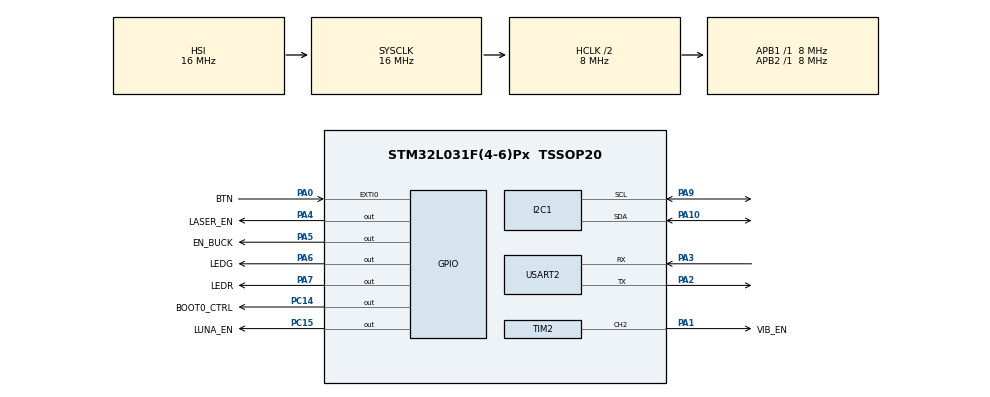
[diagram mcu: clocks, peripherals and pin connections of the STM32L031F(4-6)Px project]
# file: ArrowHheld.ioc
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I2C1.OwnAddress=0x0a
I2C1.Timing=0x2000090E
Mcu.Family=STM32L0
Mcu.Name=STM32L031F(4-6)Px
Mcu.Package=TSSOP20
NVIC.EXTI0_1_IRQn=true\:1\:0\:true\:false\:true\:true\:true
NVIC.I2C1_IRQn=true\:0\:0\:false\:false\:true\:true\:true
NVIC.TIM21_IRQn=true\:2\:0\:true\:false\:true\:true\:true
NVIC.USART2_IRQn=true\:3\:0\:true\:false\:true\:true\:true
PA0-CK_IN.GPIO_Label=BTN
PA0-CK_IN.GPIO_ModeDefaultEXTI=GPIO_MODE_IT_FALLING
PA0-CK_IN.GPIO_PuPd=GPIO_PULLUP
PA0-CK_IN.Signal=GPXTI0
PA1.GPIO_Label=VIB_EN
PA1.Signal=S_TIM2_CH2
PA10.Mode=I2C
PA10.Signal=I2C1_SDA
PA13.Mode=Serial_Wire
PA13.Signal=SYS_SWDIO
PA14.Mode=Serial_Wire
PA14.Signal=SYS_SWCLK
PA2.Mode=Asynchronous
PA2.Signal=USART2_TX
PA3.Mode=Asynchronous
PA3.Signal=USART2_RX
PA4.GPIO_Label=LASER_EN
PA4.GPIO_ModeDefaultOutputPP=GPIO_MODE_OUTPUT_PP
PA4.GPIO_PuPd=GPIO_NOPULL
PA4.Signal=GPIO_Output
PA5.GPIO_Label=EN_BUCK
PA5.Signal=GPIO_Output
PA6.GPIO_Label=LEDG
PA6.Signal=GPIO_Output
PA7.GPIO_Label=LEDR
PA7.Signal=GPIO_Output
PA9.Mode=I2C
PA9.Signal=I2C1_SCL
PC14-OSC32_IN.GPIO_Label=BOOT0_CTRL
PC14-OSC32_IN.Signal=GPIO_Output
PC15-OSC32_OUT.GPIO_Label=LUNA_EN
PC15-OSC32_OUT.Signal=GPIO_Output
ProjectManager.HeapSize=0x200
ProjectManager.StackSize=0x400
ProjectManager.TargetToolchain=MDK-ARM V5.32
RCC.AHBCLKDivider=RCC_SYSCLK_DIV2
RCC.AHBFreq_Value=8000000
RCC.APB1Freq_Value=8000000
RCC.APB1TimFreq_Value=8000000
RCC.APB2Freq_Value=8000000
RCC.APB2TimFreq_Value=8000000
RCC.HCLKFreq_Value=8000000
RCC.HSE_VALUE=8000000
RCC.HSI16_VALUE=16000000
RCC.HSI_VALUE=16000000
RCC.LSE_VALUE=32768
RCC.MSI_VALUE=2097000
RCC.SYSCLKFreq_VALUE=16000000
RCC.SYSCLKSource=RCC_SYSCLKSOURCE_HSI
RCC.VCOOutputFreq_Value=48000000
SH.S_TIM2_CH2.0=TIM2_CH2,PWM Generation2 CH2
TIM2.Channel-PWM\ Generation2\ CH2=TIM_CHANNEL_2
TIM2.ClockDivision=TIM_CLOCKDIVISION_DIV4
TIM2.Period=500
TIM2.Prescaler=10
TIM2.Pulse-PWM\ Generation2\ CH2=400
TIM21.Period=60000
TIM21.Prescaler=600
USART2.VirtualMode-Asynchronous=VM_ASYNC
VP_TIM21_VS_ClockSourceINT.Mode=Internal
VP_TIM2_VS_ClockSourceINT.Mode=Internal
board=custom

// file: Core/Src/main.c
/* USER CODE BEGIN Header */
/**
  ******************************************************************************
  * @file           : main.c
  * @brief          : Main program body
  ******************************************************************************
  * @attention
  *
  * Copyright (c) 2022 STMicroelectronics.
  * All rights reserved.
  *
  * This software is licensed under terms that can be found in the LICENSE file
  * in the root directory of this software component.
  * If no LICENSE file comes with this software, it is provided AS-IS.
  *
  ******************************************************************************
  */
/* USER CODE END Header */
#include "main.h"

/* USER CODE BEGIN Includes */
#include <stdio.h>
/* USER CODE END Includes */

I2C_HandleTypeDef hi2c1;

TIM_HandleTypeDef htim2;
TIM_HandleTypeDef htim21;

UART_HandleTypeDef huart2;

/* USER CODE BEGIN PV */
uint8_t LunaData[9];
uint16_t Distance = 0;
enum{
	NORMAL,
	LIDAR_ON,
	LIDAR_SCAN,
	LIDAR_END

} Operating_mode;
/* USER CODE END PV */

void SystemClock_Config(void);
static void MX_GPIO_Init(void);
static void MX_I2C1_Init(void);
static void MX_USART2_UART_Init(void);
static void MX_TIM2_Init(void);
static void MX_TIM21_Init(void);
/* USER CODE BEGIN PFP */

void delay_ms(uint16_t ms);
/* USER CODE END PFP */

/* USER CODE BEGIN 0 */
void disable_vibrator_pin()
{
	GPIO_InitTypeDef GPIO_InitStruct = {0};
  /*Configure to be output mode and set to Disable*/
  GPIO_InitStruct.Pin = VIB_EN_Pin;
  GPIO_InitStruct.Mode = GPIO_MODE_OUTPUT_PP;
  GPIO_InitStruct.Pull = GPIO_NOPULL;
  GPIO_InitStruct.Speed = GPIO_SPEED_FREQ_LOW;
  HAL_GPIO_Init(VIB_EN_GPIO_Port, &GPIO_InitStruct);

	HAL_GPIO_WritePin(VIB_EN_GPIO_Port,VIB_EN_Pin,GPIO_PIN_RESET);
}

void enable_vibrator_pin()
{
	GPIO_InitTypeDef GPIO_InitStruct = {0};
  __HAL_RCC_GPIOA_CLK_ENABLE();
  /*Configure to be TIM2 PWM mode*/
  GPIO_InitStruct.Pin = VIB_EN_Pin;
  GPIO_InitStruct.Mode = GPIO_MODE_AF_PP;
  GPIO_InitStruct.Pull = GPIO_PULLDOWN;
  GPIO_InitStruct.Speed = GPIO_SPEED_FREQ_LOW;
  GPIO_InitStruct.Alternate = GPIO_AF2_TIM2;
  HAL_GPIO_Init(VIB_EN_GPIO_Port, &GPIO_InitStruct);
	HAL_GPIO_WritePin(VIB_EN_GPIO_Port,VIB_EN_Pin,GPIO_PIN_RESET);
}
/* USER CODE END 0 */

int main(void)
{

  /* MCU Configuration--------------------------------------------------------*/

  /* Reset of all peripherals, Initializes the Flash interface and the Systick. */
  HAL_Init();

  /* Configure the system clock */
  SystemClock_Config();

  /* Initialize all configured peripherals */
  MX_GPIO_Init();
  MX_I2C1_Init();
  MX_USART2_UART_Init();
  MX_TIM2_Init();
  MX_TIM21_Init();
  /* USER CODE BEGIN 2 */
	BOOT0_OFF();
	LEDR_OFF();
	LEDG_OFF();
	BUCK_OFF();
	disable_vibrator_pin();
	//HAL_GPIO_WritePin(VIB_EN_GPIO_Port,VIB_EN_Pin,GPIO_PIN_RESET);
	HAL_Delay(100);
	LEDR_ON();
	LEDG_ON();
	BUCK_ON();
	HAL_Delay(200);
	enable_vibrator_pin();
	VIBRATOR_ON();
	HAL_Delay(100);
	disable_vibrator_pin();
	VIBRATOR_OFF();
	LASER_ON();
	HAL_Delay(100);
	BUCK_OFF();
	LEDR_OFF();
	LASER_OFF();

	//HAL_TIM_Base_Start_DMA(&htim2,(uint32_t*)LunaData,9);
	//HAL_UART_Receive_IT(&huart2,LunaData,9);
  /* USER CODE END 2 */

  /* Infinite loop */
  /* USER CODE BEGIN WHILE */
	Operating_mode = NORMAL;
  while (1)
  {
    /* USER CODE END WHILE */

    /* USER CODE BEGIN 3 */

		if(Operating_mode == NORMAL)
		{
			LEDG_ON();
			HAL_Delay(500);

			LEDG_OFF();
			HAL_Delay(500);
		}
		else if(Operating_mode == LIDAR_ON)
		{
			HAL_TIM_Base_Start_IT(&htim21);
			LEDR_ON();
			BUCK_ON();
			delay_ms(50);
			//HAL_UART_Receive_DMA(&huart2,(uint8_t *)LunaData,9);
			Operating_mode = LIDAR_SCAN;
			HAL_UART_Receive_IT(&huart2,(uint8_t *)LunaData,9);
			VIBRATOR_ON();
			enable_vibrator_pin();
		}
		else if(Operating_mode == LIDAR_SCAN)
		{
			LASER_ON();

		}
		else if(Operating_mode == LIDAR_END)
		{
			disable_vibrator_pin();
			VIBRATOR_OFF();
			//HAL_UART_DMAStop(&huart2);
			Operating_mode = 0;
			HAL_TIM_Base_Stop_IT(&htim21);
			delay_ms(50);
			LEDR_OFF();
			BUCK_OFF();
			LASER_OFF();
			//HAL_GPIO_TogglePin(LEDR_GPIO_Port,LEDR_Pin);

			Operating_mode = NORMAL;
		}
  }
  /* USER CODE END 3 */
}

void SystemClock_Config(void)
{
  RCC_OscInitTypeDef RCC_OscInitStruct = {0};
  RCC_ClkInitTypeDef RCC_ClkInitStruct = {0};
  RCC_PeriphCLKInitTypeDef PeriphClkInit = {0};

  /** Configure the main internal regulator output voltage
  */
  __HAL_PWR_VOLTAGESCALING_CONFIG(PWR_REGULATOR_VOLTAGE_SCALE1);
  /** Initializes the RCC Oscillators according to the specified parameters
  * in the RCC_OscInitTypeDef structure.
  */
  RCC_OscInitStruct.OscillatorType = RCC_OSCILLATORTYPE_HSI;
  RCC_OscInitStruct.HSIState = RCC_HSI_ON;
  RCC_OscInitStruct.HSICalibrationValue = RCC_HSICALIBRATION_DEFAULT;
  RCC_OscInitStruct.PLL.PLLState = RCC_PLL_NONE;
  if (HAL_RCC_OscConfig(&RCC_OscInitStruct) != HAL_OK)
  {
    Error_Handler();
  }
  /** Initializes the CPU, AHB and APB buses clocks
  */
  RCC_ClkInitStruct.ClockType = RCC_CLOCKTYPE_HCLK|RCC_CLOCKTYPE_SYSCLK
                              |RCC_CLOCKTYPE_PCLK1|RCC_CLOCKTYPE_PCLK2;
  RCC_ClkInitStruct.SYSCLKSource = RCC_SYSCLKSOURCE_HSI;
  RCC_ClkInitStruct.AHBCLKDivider = RCC_SYSCLK_DIV2;
  RCC_ClkInitStruct.APB1CLKDivider = RCC_HCLK_DIV1;
  RCC_ClkInitStruct.APB2CLKDivider = RCC_HCLK_DIV1;

  if (HAL_RCC_ClockConfig(&RCC_ClkInitStruct, FLASH_LATENCY_0) != HAL_OK)
  {
    Error_Handler();
  }
  PeriphClkInit.PeriphClockSelection = RCC_PERIPHCLK_USART2|RCC_PERIPHCLK_I2C1;
  PeriphClkInit.Usart2ClockSelection = RCC_USART2CLKSOURCE_PCLK1;
  PeriphClkInit.I2c1ClockSelection = RCC_I2C1CLKSOURCE_PCLK1;
  if (HAL_RCCEx_PeriphCLKConfig(&PeriphClkInit) != HAL_OK)
  {
    Error_Handler();
  }
}

static void MX_I2C1_Init(void)
{

  hi2c1.Instance = I2C1;
  hi2c1.Init.Timing = 0x2000090E;
  hi2c1.Init.OwnAddress1 = 20;
  hi2c1.Init.AddressingMode = I2C_ADDRESSINGMODE_7BIT;
  hi2c1.Init.DualAddressMode = I2C_DUALADDRESS_DISABLE;
  hi2c1.Init.OwnAddress2 = 0;
  hi2c1.Init.OwnAddress2Masks = I2C_OA2_NOMASK;
  hi2c1.Init.GeneralCallMode = I2C_GENERALCALL_DISABLE;
  hi2c1.Init.NoStretchMode = I2C_NOSTRETCH_DISABLE;
  if (HAL_I2C_Init(&hi2c1) != HAL_OK)
  {
    Error_Handler();
  }
  /** Configure Analogue filter
  */
  if (HAL_I2CEx_ConfigAnalogFilter(&hi2c1, I2C_ANALOGFILTER_ENABLE) != HAL_OK)
  {
    Error_Handler();
  }
  /** Configure Digital filter
  */
  if (HAL_I2CEx_ConfigDigitalFilter(&hi2c1, 0) != HAL_OK)
  {
    Error_Handler();
  }

}

static void MX_TIM2_Init(void)
{

  TIM_ClockConfigTypeDef sClockSourceConfig = {0};
  TIM_MasterConfigTypeDef sMasterConfig = {0};
  TIM_OC_InitTypeDef sConfigOC = {0};

  htim2.Instance = TIM2;
  htim2.Init.Prescaler = 1;
  htim2.Init.CounterMode = TIM_COUNTERMODE_UP;
  htim2.Init.Period = 100;
  htim2.Init.ClockDivision = TIM_CLOCKDIVISION_DIV4;
  htim2.Init.AutoReloadPreload = TIM_AUTORELOAD_PRELOAD_DISABLE;
  if (HAL_TIM_Base_Init(&htim2) != HAL_OK)
  {
    Error_Handler();
  }
  sClockSourceConfig.ClockSource = TIM_CLOCKSOURCE_INTERNAL;
  if (HAL_TIM_ConfigClockSource(&htim2, &sClockSourceConfig) != HAL_OK)
  {
    Error_Handler();
  }
  if (HAL_TIM_PWM_Init(&htim2) != HAL_OK)
  {
    Error_Handler();
  }
  sMasterConfig.MasterOutputTrigger = TIM_TRGO_RESET;
  sMasterConfig.MasterSlaveMode = TIM_MASTERSLAVEMODE_DISABLE;
  if (HAL_TIMEx_MasterConfigSynchronization(&htim2, &sMasterConfig) != HAL_OK)
  {
    Error_Handler();
  }
  sConfigOC.OCMode = TIM_OCMODE_PWM2;
  sConfigOC.Pulse = 20;
  sConfigOC.OCPolarity = TIM_OCPOLARITY_LOW;
  sConfigOC.OCFastMode = TIM_OCFAST_DISABLE;
  if (HAL_TIM_PWM_ConfigChannel(&htim2, &sConfigOC, TIM_CHANNEL_2) != HAL_OK)
  {
    Error_Handler();
  }
  HAL_TIM_MspPostInit(&htim2);

}

static void MX_TIM21_Init(void)
{

  TIM_ClockConfigTypeDef sClockSourceConfig = {0};
  TIM_MasterConfigTypeDef sMasterConfig = {0};

  htim21.Instance = TIM21;
  htim21.Init.Prescaler = 600;
  htim21.Init.CounterMode = TIM_COUNTERMODE_UP;
  htim21.Init.Period = 20000;
  htim21.Init.ClockDivision = TIM_CLOCKDIVISION_DIV1;
  htim21.Init.AutoReloadPreload = TIM_AUTORELOAD_PRELOAD_DISABLE;
  if (HAL_TIM_Base_Init(&htim21) != HAL_OK)
  {
    Error_Handler();
  }
  sClockSourceConfig.ClockSource = TIM_CLOCKSOURCE_INTERNAL;
  if (HAL_TIM_ConfigClockSource(&htim21, &sClockSourceConfig) != HAL_OK)
  {
    Error_Handler();
  }
  sMasterConfig.MasterOutputTrigger = TIM_TRGO_RESET;
  sMasterConfig.MasterSlaveMode = TIM_MASTERSLAVEMODE_DISABLE;
  if (HAL_TIMEx_MasterConfigSynchronization(&htim21, &sMasterConfig) != HAL_OK)
  {
    Error_Handler();
  }

}

static void MX_USART2_UART_Init(void)
{

  huart2.Instance = USART2;
  huart2.Init.BaudRate = 115200;
  huart2.Init.WordLength = UART_WORDLENGTH_8B;
  huart2.Init.StopBits = UART_STOPBITS_1;
  huart2.Init.Parity = UART_PARITY_NONE;
  huart2.Init.Mode = UART_MODE_TX_RX;
  huart2.Init.HwFlowCtl = UART_HWCONTROL_NONE;
  huart2.Init.OverSampling = UART_OVERSAMPLING_16;
  huart2.Init.OneBitSampling = UART_ONE_BIT_SAMPLE_DISABLE;
  huart2.AdvancedInit.AdvFeatureInit = UART_ADVFEATURE_NO_INIT;
  if (HAL_UART_Init(&huart2) != HAL_OK)
  {
    Error_Handler();
  }

}

static void MX_GPIO_Init(void)
{
  GPIO_InitTypeDef GPIO_InitStruct = {0};

  /* GPIO Ports Clock Enable */
  __HAL_RCC_GPIOC_CLK_ENABLE();
  __HAL_RCC_GPIOA_CLK_ENABLE();

  /*Configure GPIO pin Output Level */
  HAL_GPIO_WritePin(GPIOC, BOOT0_CTRL_Pin|LUNA_EN_Pin, GPIO_PIN_RESET);

  /*Configure GPIO pin Output Level */
  HAL_GPIO_WritePin(GPIOA, LASER_EN_Pin|EN_BUCK_Pin|LEDG_Pin|LEDR_Pin, GPIO_PIN_RESET);

  /*Configure GPIO pins : BOOT0_CTRL_Pin LUNA_EN_Pin */
  GPIO_InitStruct.Pin = BOOT0_CTRL_Pin|LUNA_EN_Pin;
  GPIO_InitStruct.Mode = GPIO_MODE_OUTPUT_PP;
  GPIO_InitStruct.Pull = GPIO_NOPULL;
  GPIO_InitStruct.Speed = GPIO_SPEED_FREQ_LOW;
  HAL_GPIO_Init(GPIOC, &GPIO_InitStruct);

  /*Configure GPIO pin : BTN_Pin */
  GPIO_InitStruct.Pin = BTN_Pin;
  GPIO_InitStruct.Mode = GPIO_MODE_IT_FALLING;
  GPIO_InitStruct.Pull = GPIO_PULLUP;
  HAL_GPIO_Init(BTN_GPIO_Port, &GPIO_InitStruct);

  /*Configure GPIO pins : LASER_EN_Pin EN_BUCK_Pin LEDG_Pin LEDR_Pin */
  GPIO_InitStruct.Pin = LASER_EN_Pin|EN_BUCK_Pin|LEDG_Pin|LEDR_Pin;
  GPIO_InitStruct.Mode = GPIO_MODE_OUTPUT_PP;
  GPIO_InitStruct.Pull = GPIO_NOPULL;
  GPIO_InitStruct.Speed = GPIO_SPEED_FREQ_LOW;
  HAL_GPIO_Init(GPIOA, &GPIO_InitStruct);

  /* EXTI interrupt init*/
  HAL_NVIC_SetPriority(EXTI0_1_IRQn, 1, 0);
  HAL_NVIC_EnableIRQ(EXTI0_1_IRQn);

}

/* USER CODE BEGIN 4 */
void HAL_UART_RxCpltCallback(UART_HandleTypeDef *huart)
{
	Distance = LunaData[3] + LunaData[4]*256;
	//printf("Distance = %d", Distance);
	HAL_UART_Receive_IT(&huart2,(uint8_t *)LunaData,9);
	HAL_GPIO_TogglePin(LEDG_GPIO_Port,LEDG_Pin);
}

void HAL_GPIO_EXTI_Callback(uint16_t GPIO_Pin)
{
	if(Operating_mode == NORMAL)
	{
		Operating_mode = LIDAR_ON;
	}
}

void HAL_TIM_PeriodElapsedCallback(TIM_HandleTypeDef *htim)
{
	Operating_mode = LIDAR_END;
}

void delay_ms(uint16_t ms)
{
	uint32_t k =630; // was 384
	k = k*ms;
	//DELAY_TIME = 1;

  while(k--);
}

//int fputc(int ch, FILE *f) {
//  ITM_SendChar(ch);
//  return(ch);
//}

/* USER CODE END 4 */

void Error_Handler(void)
{
  __disable_irq();
  while (1)
  {
  }
}
